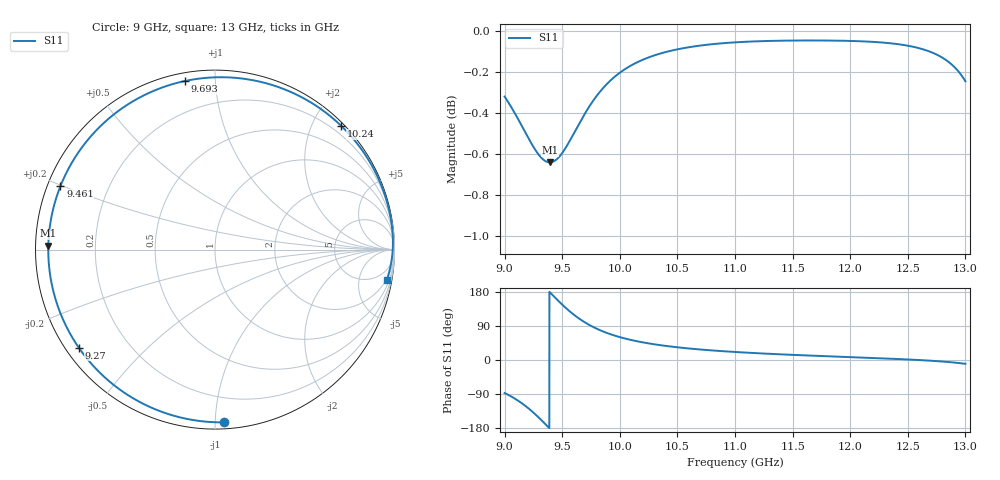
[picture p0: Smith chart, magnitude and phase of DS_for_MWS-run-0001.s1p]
! TOUCHSTONE file generated by CST DESIGN STUDIO
! Date and time: Tue Feb  4 16:22:46 2025
! Project name: C:\Work\MatlabApps\UnitCellOptimizationMatlab\CST\unitcell.cst
! Tree item: Tasks\Sweep1\SPara1\S-Parameters
! Header version: 2024
! Port assignment regex: !\s*Touchstone port\s*([0-9]+)\s*=\s*(CST MWS port|CST DES external port|CST DES block port)\s*(.+)\s* \(\"(.*)\"\)(\s*mode\s*([0-9]+))?.*
! Touchstone port assignment:
! Touchstone port 1 = CST DES external port 1 ("")
# GHz S MA R 50
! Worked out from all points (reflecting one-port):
!   4001 points, 9 GHz to 13 GHz, reference 50 ohm
!   lowest |S11| = -0.6 dB at 9.393 GHz (marker M1), VSWR 27.12, Z = 1.84 + j0.602 ohm
!   phase of S11 starts at -87 deg and turns -283 deg over the sweep
!   S11 on the Smith chart (normalised r, x): 9 GHz: 0.04, -1.05; 9.27 GHz: 0.04, -0.32; 9.461 GHz: 0.04, +0.20; 9.693 GHz: 0.04, +0.84; 10.24 GHz: 0.05, +2.45; 13 GHz: 2, -11
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9  0.9637 -87.1
9.02  0.9618 -90.1
9.079  0.9558 -100.1
9.147  0.9483 -113.6
9.209  0.9413 -128.1
9.27  0.9351 -144.3
9.334  0.9304 -163.1
9.393  0.9289 178.6
9.426  0.9294 168.3
9.461  0.931 157.6
9.5  0.9338 146.1
9.547  0.9382 133.1
9.593  0.9432 121.5
9.641  0.9486 110.5
9.693  0.9542 100.0
9.76  0.9607 88.5
9.84  0.9672 77.1
9.917  0.9723 68.2
10  0.9767 60.4
10.111  0.9811 51.9
10.239  0.9848 44.4
10.5  0.9895 33.5
11  0.9934 21.2
11.5  0.9944 13.5
12  0.9942 7.6
12.5  0.9916 1.4
12.786  0.9855 -3.7
13  0.972 -10.2
